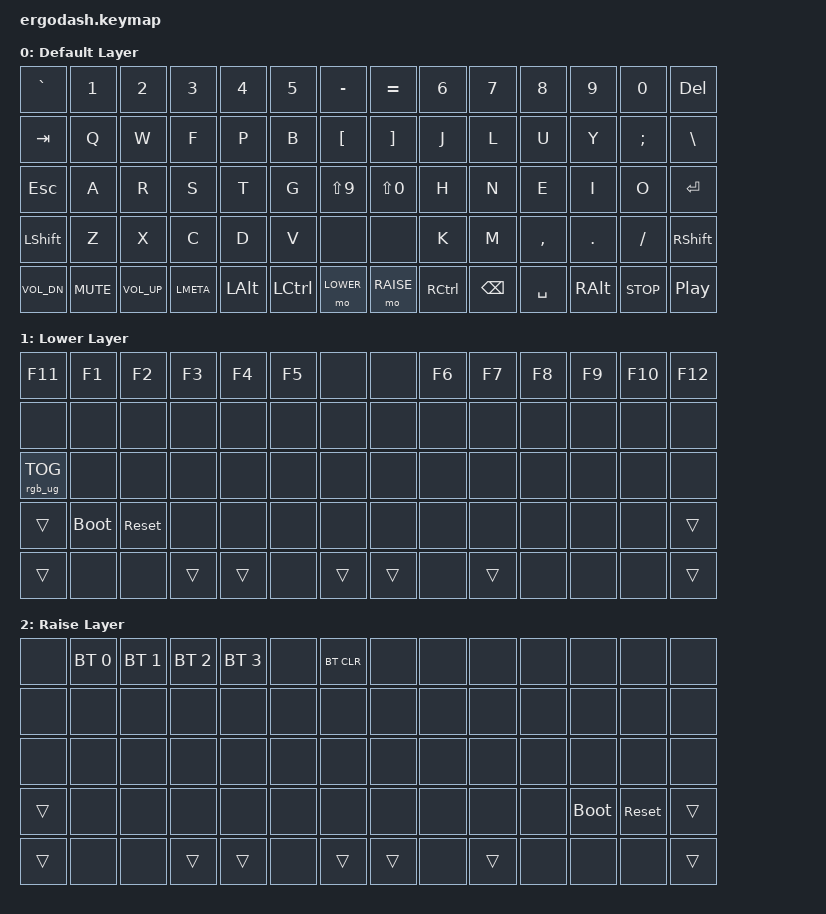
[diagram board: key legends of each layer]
/*
 * Copyright (c) 2020 The ZMK Contributors
 *
 * SPDX-License-Identifier: MIT
 */

#include <behaviors.dtsi>
#include <dt-bindings/zmk/keys.h>
#include <dt-bindings/zmk/bt.h>
#include <dt-bindings/zmk/rgb.h>
#include <dt-bindings/led/led.h>

#define DEFAULT 0
#define LOWER   1
#define RAISE   2

&pinctrl {
        spi3_default: spi3_default {
                group1 {
                        psels = <NRF_PSEL(SPIM_MOSI, 0, 20)>;
                };
        };
        spi3_sleep: spi3_sleep {
                group1 {
                        psels = <NRF_PSEL(SPIM_MOSI, 0, 20)>;
                        low-power-enable;
                };
        };
};

&spi3 {
        compatible = "nordic,nrf-spim";
        status = "okay";
        pinctrl-0 = <&spi3_default>;
        pinctrl-1 = <&spi3_sleep>;
        pinctrl-names = "default", "sleep";

        led_strip: ws2812@0 {
                compatible = "worldsemi,ws2812-spi";
                reg = <0>;
                spi-max-frequency = <4000000>;
                chain-length = <11>;
                spi-one-frame = <0x70>;
                spi-zero-frame = <0x40>;
                color-mapping = <LED_COLOR_ID_GREEN LED_COLOR_ID_RED LED_COLOR_ID_BLUE>;
        };
};

/ {
        chosen {
                zmk,underglow = &led_strip;
        };
};

/ {
        keymap {
                compatible = "zmk,keymap";

                default_layer {
                        display-name = "Default Layer";
/* COLEMAK
 * .----------------------------------------------------------------------------------------------------------------------.
 * |  `   |   1  |   2  |   3  |   4  |   5  |  -   |                    |  =   |   6  |   7  |   8  |   9  |   0  | Del  |
 * |------+------+------+------+------+------+------+--------------------+------+------+------+------+------+------+------|
 * | Tab  |   Q  |   W  |   F  |   P  |   B  |  [   |                    |  ]   |   J  |   L  |   U  |   Y  |   ;  |  \   |
 * |------+------+------+------+------+------+------+--------------------+------+------+------+------+------+------+------|
 * | ESC  |   A  |   R  |   S  |   T  |   G  |  (   |                    |  )   |   H  |   N  |   E  |   I  |   O  | ENT  |
 * |------+------+------+------+------+------+---------------------------+------+------+------+------+------+------+------|
 * | Shift|   Z  |   X  |   C  |   D  |   V  | none |                    | none |   K  |   M  |   ,  |   .  |   /  | Shift|
 * |-------------+------+------+------+------+------+------+------+------+------+------+------+------+------+-------------|
 * | Voldn | Mute | Volup | none | Win  |LAlt| LCtrl | Lower |||||||| Raise| RCtrl | BKS | SPC | none | RAlt |stop| play  |
 * .----------------------------------------------------------------------------------------------------------------------.
 */
                        bindings = <
    &kp GRAVE   &kp N1     &kp N2     &kp N3     &kp N4     &kp N5     &kp MINUS          &kp EQUAL    &kp N6     &kp N7     &kp N8     &kp N9     &kp N0        &kp DEL
    &kp TAB     &kp Q      &kp W      &kp F      &kp P      &kp B      &kp LBKT           &kp RBKT     &kp J      &kp L      &kp U      &kp Y      &kp SEMI      &kp BSLH
    &kp ESC     &kp A      &kp R      &kp S      &kp T      &kp G      &kp LS(N9)         &kp LS(N0)   &kp H      &kp N      &kp E      &kp I      &kp O         &kp RET
    &kp LSHFT   &kp Z      &kp X      &kp C      &kp D      &kp V      &none               &none        &kp K      &kp M      &kp COMMA  &kp DOT    &kp SLASH     &kp RSHFT
    &kp C_VOL_DN &kp C_MUTE &kp C_VOL_UP &kp LMETA &kp LALT  &kp LCTRL  &mo LOWER          &mo RAISE    &kp RCTRL  &kp BSPC   &kp SPACE  &kp RALT   &kp C_STOP    &kp C_PLAY_PAUSE
    >;
                };
                lower_layer {
                        display-name = "Lower Layer";
/* .----------------------------------------------------------------------------------------------------------------------.
 * |  F11 |  F1  |  F2  |  F3  |  F4  |  F5  |      |                    |      |  F6  |  F7  |  F8  |  F9  |  F10 |  F12 |
 * |------+------+------+------+------+------+------+--------------------+------+------+------+------+------+------+------|
 * |      |      |      |      |      |      |      |                    |      |      |      |      |      |      |      |
 * |------+------+------+------+------+------+------+--------------------+------+------+------+------+------+------+------|
 * | RGB  |      |      |      |      |      |      |                    |      |      |      |      |      |      |      |
 * |------+------+------+------+------+------+---------------------------+------+------+------+------+------+------+------|
 * | Shift| Boot | Reset|      |      |      |      |                    |      |      |      |      |      |      | Shift|
 * |-------------+------+------+------+------+------+------+------+------+------+------+------+------+------+-------------|
 * | Ctlr |      |      |  Win |||||||| Alt  |      | Lower|||||||| Raise|      | RAlt ||||||||      |      |      | RCtrl|
 * .----------------------------------------------------------------------------------------------------------------------.
 */ /* FIXME boot and reset are not yet locale aware */
                        bindings = <
&kp  F11      &kp  F1       &kp  F2       &kp  F3       &kp  F4       &kp  F5       &none                  &none         &kp  F6       &kp  F7       &kp  F8       &kp  F9       &kp  F10      &kp  F12
&none         &none         &none         &none         &none         &none         &none                  &none         &none         &none         &none         &none         &none         &none
&rgb_ug RGB_TOG &none         &none         &none         &none         &none         &none                  &none         &none         &none         &none         &none         &none         &none
&trans        &bootloader   &sys_reset        &none         &none         &none         &none                  &none         &none         &none         &none         &none         &none         &trans
&trans        &none         &none         &trans        &trans        &none         &trans                 &trans        &none         &trans        &none         &none         &none         &trans
                        >;
                };
                raise_layer {
                        display-name = "Raise Layer";
/* .----------------------------------------------------------------------------------------------------------------------.
 * |      | BT 0 | BT 1 | BT 2 | BT 3 |      | BTCL |                    |      |      |      |      |      |      |      |
 * |------+------+------+------+------+------+------+--------------------+------+------+------+------+------+------+------|
 * |      |      |      |      |      |      |      |                    |      |      |      |      |      |      |      |
 * |------+------+------+------+------+------+------+--------------------+------+------+------+------+------+------+------|
 * |      |      |      |      |      |      |      |                    |      |      |      |      |      |      |      |
 * |------+------+------+------+------+------+---------------------------+------+------+------+------+------+------+------|
 * | Shift|      |      |      |      |      |      |                    |      |      |      |      | Boot | Reset| Shift|
 * |-------------+------+------+------+------+------+------+------+------+------+------+------+------+------+-------------|
 * | Ctlr |      |      |  Win |||||||| Alt  |      | Lower|||||||| Raise|      | RAlt ||||||||      |      |      | RCtrl|
 * .----------------------------------------------------------------------------------------------------------------------.
 */ /* FIXME boot and reset are not yet locale aware */
                        bindings = <
&none         &bt BT_SEL 0  &bt BT_SEL 1  &bt BT_SEL 2  &bt BT_SEL 3  &none         &bt BT_CLR             &none         &none         &none         &none         &none         &none         &none
&none         &none         &none         &none         &none         &none         &none                  &none         &none         &none         &none         &none         &none         &none
&none         &none         &none         &none         &none         &none         &none                  &none         &none         &none         &none         &none         &none         &none
&trans        &none         &none         &none         &none         &none         &none                  &none         &none         &none         &none         &bootloader   &sys_reset        &trans
&trans        &none         &none         &trans        &trans        &none         &trans                 &trans        &none         &trans        &none         &none         &none         &trans
                        >;
                };
        };
};

